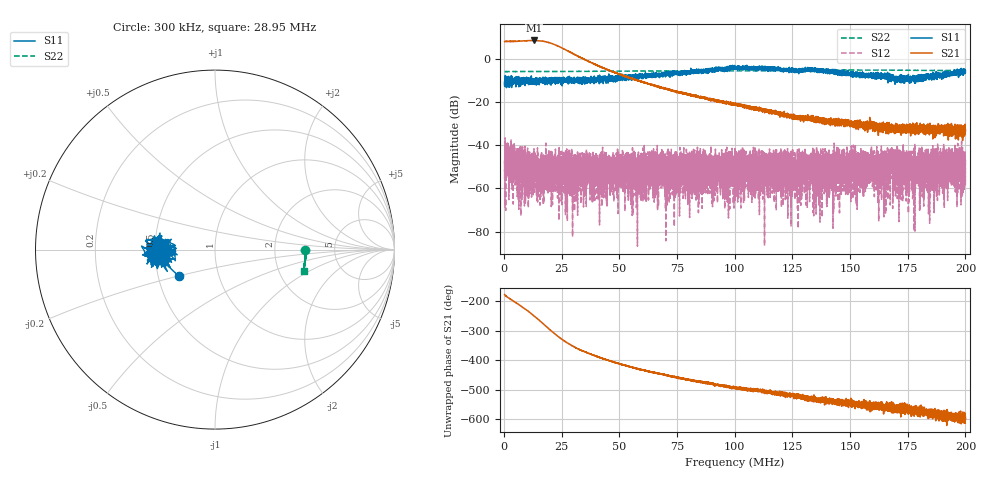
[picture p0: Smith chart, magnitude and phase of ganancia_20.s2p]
# Hz S DB R 50
! CMT, M5065, 19127446, 24.2.4/2
! Date: 10/29/2024 12:16:26 PM
! Data: Format (Calibration Info)
! Freq	S11:dB/Ang(F2)	S21:dB/Ang(F2)	S12:dB/Ang(F2)	S22:dB/Ang(F2)
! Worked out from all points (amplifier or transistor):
!   9000 points, 300 kHz to 200 MHz, reference 50 ohm
!   highest |S21| = 8.5 dB at 13.02 MHz (marker M1)
!   |S21| within 3 dB of that: start of sweep to 24.24 MHz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
!   unconditionally stable (mu >= 1): start of sweep to end of sweep
!   at 33.59 MHz: K = 140.66, MAG = 2.2 dB, |S12| = -52.9 dB
!   at 100.2 MHz: K = 1592.74, MAG = -17.1 dB, |S12| = -56.8 dB
!   at 200 MHz: K = 2365.80, MAG = -30.0 dB, |S12| = -46.4 dB
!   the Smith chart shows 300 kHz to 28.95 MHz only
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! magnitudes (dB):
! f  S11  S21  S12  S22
! 300 kHz  -12.0  8.0  -47.4  -6.0
! 10.6 MHz  -11.7  8.4  -61.7  -5.9
! 13.02 MHz  -11.6  8.5  -41.7  -5.9
! 33.59 MHz  -9.9  0.4  -52.9  -5.8
! 66.87 MHz  -6.7  -13.1  -54.2  -5.7
! 80.17 MHz  -6.3  -16.8  -54.3  -5.7
! 87.47 MHz  -5.5  -18.1  -56.4  -5.6
! 90.15 MHz  -5.8  -18.9  -49.1  -5.7
! 92.35 MHz  -5.6  -19.9  -50.6  -5.6
! 100.2 MHz  -3.6  -20.9  -56.8  -5.6
! 128.1 MHz  -6.1  -27.9  -53.7  -5.4
! 133.4 MHz  -4.8  -28.0  -49.5  -5.3
! 142 MHz  -5.7  -29.1  -45.9  -5.3
! 151.6 MHz  -6.6  -29.2  -51.6  -5.2
! 156.1 MHz  -7.2  -31.1  -49.1  -5.3
! 159.1 MHz  -6.8  -32.2  -41.6  -5.2
! 165.4 MHz  -7.6  -32.3  -54.1  -5.3
! 166.7 MHz  -8.2  -33.1  -48.0  -5.3
! 179 MHz  -9.0  -31.7  -49.6  -5.4
! 192.7 MHz  -7.5  -32.2  -53.7  -5.5
! 198 MHz  -6.2  -34.8  -47.3  -5.5
! 200 MHz  -5.5  -32.9  -46.4  -5.5
